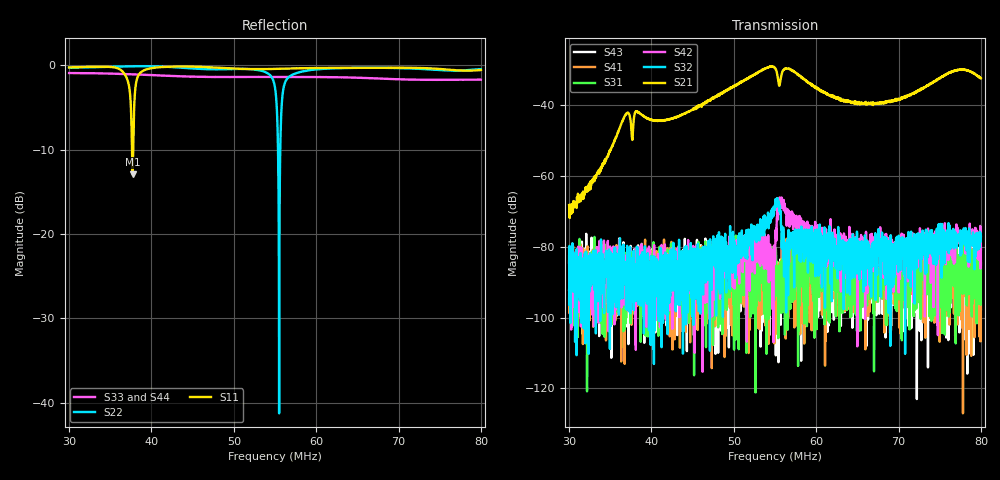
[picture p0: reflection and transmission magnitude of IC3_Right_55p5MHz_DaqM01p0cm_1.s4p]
#  HZ  S  DB  R  50.00
! Rohde & Schwarz Vector Network Analyzer
! Rohde-Schwarz,ZNB8-4Port,1311601044102961,2.82
! Created: UTC 2/13/2019, 11:57:49 AM
! freq[Hz]  db:S11  ang:S11  db:S12  ang:S12  db:S13  ang:S13  db:S14  ang:S14
!  db:S21  ang:S21  db:S22  ang:S22  db:S23  ang:S23  db:S24  ang:S24
!  db:S31  ang:S31  db:S32  ang:S32  db:S33  ang:S33  db:S34  ang:S34
!  db:S41  ang:S41  db:S42  ang:S42  db:S43  ang:S43  db:S44  ang:S44
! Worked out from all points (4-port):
!   2001 points, 30 MHz to 80 MHz, reference 50 ohm
!   strongest paths, dB at 30 MHz, 42.5 MHz, 55 MHz, 67.5 MHz, 80 MHz:
!     S21: -68.2, -43.7, -29.5, -39.5, -32.4
!     S32: -96.3, -82.1, -68.0, -82.3, -77.2
!     S42: -84.5, -85.5, -83.9, -84.3, -80.7
!     S31: -82.8, -85.9, -87.9, -95.6, -84.7
!     S41: -84.0, -96.4, -89.3, -83.6, -84.2
!     S43: -92.2, -85.2, -88.7, -87.2, -97.6
!   lowest |S11| = -12.9 dB at 37.7 MHz (marker M1), VSWR 1.58, Z = 77.3 - j9.36 ohm
!   |S11| at or under -10 dB: 37.63414 MHz to 37.77477 MHz (140.6 kHz wide, 0.373 % of centre)
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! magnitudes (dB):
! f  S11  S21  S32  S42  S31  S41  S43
! 30 MHz  -0.3  -68.2  -96.3  -84.5  -82.8  -84.0  -92.2
! 37.7 MHz  -12.9  -49.5  -84.6  -87.6  -84.9  -90.7  -94.1
! 54.23 MHz  -0.5  -29.3  -74.8  -87.8  -84.7  -107.4  -83.0
! 55.5 MHz  -0.4  -34.5  -67.5  -68.4  -93.6  -86.1  -86.9
! 57.05 MHz  -0.4  -30.1  -76.1  -71.1  -85.7  -93.3  -88.2
! 66.03 MHz  -0.3  -39.1  -88.0  -87.8  -87.3  -99.8  -89.2
! 80 MHz  -0.6  -32.4  -77.2  -80.7  -84.7  -84.2  -97.6
